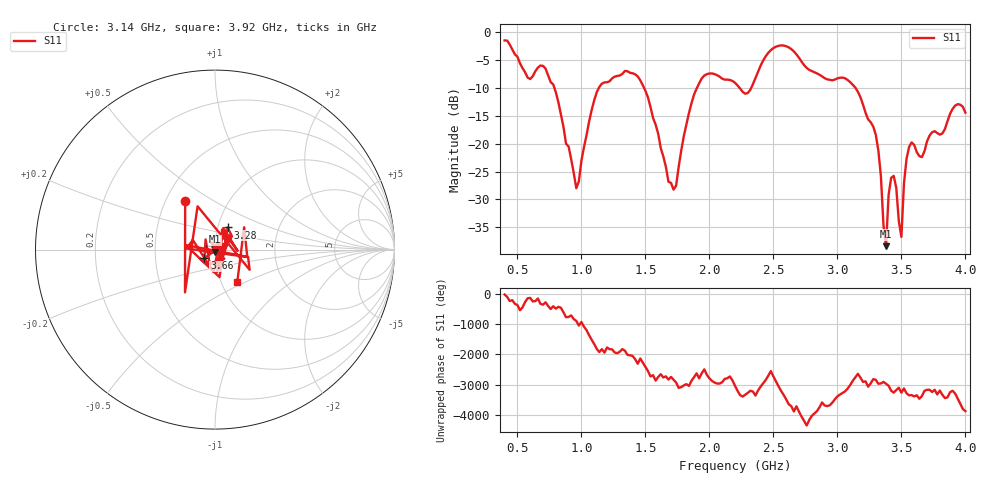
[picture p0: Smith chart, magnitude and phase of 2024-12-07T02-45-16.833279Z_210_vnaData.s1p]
!Created with skrf (http://scikit-rf.org).
# Hz S RI R 50.0
!freq ReS11 ImS11
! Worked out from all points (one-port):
!   181 points, 400 MHz to 4 GHz, reference 50 ohm
!   lowest |S11| = -38.4 dB at 3.38 GHz (marker M1), VSWR 1.02, Z = 50 - j1.21 ohm
!   |S11| at or under -10 dB: 788.6 MHz to 1.137 GHz (348.4 MHz wide, 36.2 % of centre); 1.489 GHz to 1.903 GHz (414.2 MHz wide, 24.4 % of centre); 3.141 GHz to end of sweep (the widest 3 of 4)
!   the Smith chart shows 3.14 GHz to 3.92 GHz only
!   S11 on the Smith chart (normalised r, x): 3.14 GHz: 0.63, +0.38; 3.28 GHz: 1.11, +0.28; 3.66 GHz: 0.88, -0.08; 3.92 GHz: 1.19, -0.45
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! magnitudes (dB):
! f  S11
! 400 MHz  -1.5
! 580 MHz  -8.2
! 720 MHz  -6.6
! 860 MHz  -17.0
! 960 MHz  -28.0
! 1.12 GHz  -10.8
! 1.3 GHz  -7.8
! 1.5 GHz  -10.5
! 1.72 GHz  -28.2
! 1.76 GHz  -24.2
! 1.94 GHz  -8.3
! 2.2 GHz  -9.1
! 2.3 GHz  -10.9
! 2.48 GHz  -3.3
! 2.66 GHz  -3.5
! 3.1 GHz  -9.0
! 3.14 GHz  -10.0
! 3.28 GHz  -16.9
! 3.32 GHz  -21.2
! 3.38 GHz  -38.4
! 3.4 GHz  -29.2
! 3.44 GHz  -25.8
! 3.5 GHz  -36.7
! 3.52 GHz  -27.1
! 3.56 GHz  -20.6
! 3.66 GHz  -22.4
! 3.92 GHz  -13.2
! 4 GHz  -14.4
